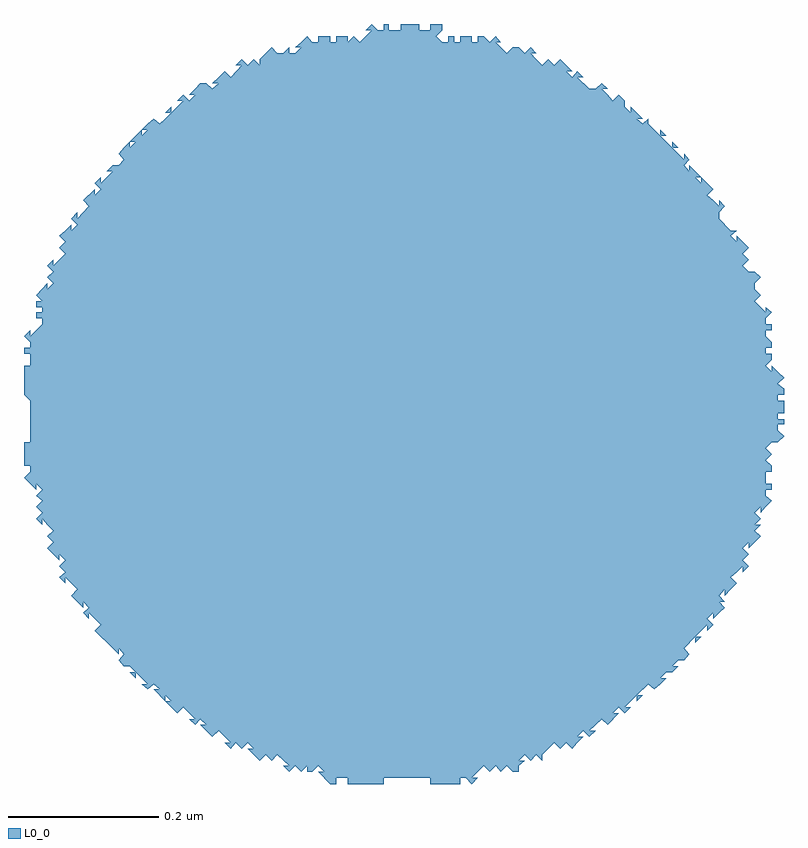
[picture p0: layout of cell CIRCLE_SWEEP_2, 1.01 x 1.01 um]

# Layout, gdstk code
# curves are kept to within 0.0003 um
import gdstk
lib = gdstk.Library(unit=1e-6, precision=1e-09)
def P(c, l, *ps):  # polygons
    for p in ps: c.add(gdstk.Polygon(p, *l))
L0_0 = (0, 0)

circle_sweep_2 = lib.new_cell('CIRCLE_SWEEP_2')
P(circle_sweep_2, L0_0, [(-0.09,-0.498),(-0.075,-0.498),(-0.075,-0.506),(-0.027,-0.506),(-0.027,-0.498),(0.035,-0.498),(0.035,-0.506),(0.075,-0.506),(0.075,-0.498),(0.082,-0.498),(0.09,-0.506),(0.098,-0.498),(0.09,-0.498),(0.098,-0.49),(-0.114,-0.49),(-0.098,-0.506),(-0.09,-0.506)],
  [(-0.184,-0.467),(-0.2,-0.467),(-0.192,-0.475)],
  [(-0.169,-0.467),(-0.184,-0.467),(-0.176,-0.475)],
  [(0.106,-0.482),(0.114,-0.49),(0.122,-0.482),(0.129,-0.49),(0.137,-0.482),(0.145,-0.49),(0.153,-0.49),(0.153,-0.482),(0.161,-0.475),(0.153,-0.475),(0.161,-0.467),(-0.169,-0.467),(-0.153,-0.482),(-0.161,-0.482),(-0.153,-0.49),(-0.145,-0.482),(-0.137,-0.49),(-0.129,-0.482),(-0.129,-0.49),(-0.122,-0.49),(-0.114,-0.482),(-0.106,-0.49),(0.098,-0.49)],
  [(0.176,-0.467),(0.161,-0.467),(0.169,-0.475)],
  [(0.184,-0.467),(0.176,-0.467),(0.184,-0.475)],
  [(0.192,-0.459),(0.2,-0.451),(0.208,-0.459),(0.216,-0.451),(0.224,-0.459),(0.231,-0.451),(0.239,-0.443),(-0.239,-0.443),(-0.231,-0.451),(-0.239,-0.451),(-0.231,-0.459),(-0.224,-0.451),(-0.216,-0.459),(-0.208,-0.451),(-0.2,-0.459),(-0.208,-0.459),(-0.2,-0.467),(0.184,-0.467)],
  [(0.239,-0.435),(0.247,-0.443),(0.255,-0.435),(0.247,-0.435),(0.263,-0.42),(0.271,-0.427),(0.286,-0.412),(-0.286,-0.412),(-0.278,-0.42),(-0.286,-0.42),(-0.278,-0.427),(-0.271,-0.42),(-0.263,-0.427),(-0.271,-0.427),(-0.255,-0.443),(-0.247,-0.435),(-0.239,-0.443),(0.231,-0.443)],
  [(-0.333,-0.373),(-0.349,-0.373),(-0.341,-0.38)],
  [(0.286,-0.404),(0.294,-0.412),(0.302,-0.404),(0.294,-0.404),(0.31,-0.388),(0.31,-0.396),(0.318,-0.388),(0.31,-0.388),(0.325,-0.373),(-0.333,-0.373),(-0.325,-0.38),(-0.333,-0.38),(-0.318,-0.396),(-0.318,-0.388),(-0.31,-0.396),(-0.318,-0.396),(-0.302,-0.412),(-0.294,-0.404),(-0.286,-0.412),(0.278,-0.412)],
  [(0.341,-0.373),(0.325,-0.373),(0.333,-0.38)],
  [(-0.38,-0.325),(-0.388,-0.325),(-0.38,-0.333)],
  [(0.349,-0.365),(0.341,-0.365),(0.349,-0.357),(0.357,-0.357),(0.365,-0.349),(0.357,-0.349),(0.365,-0.341),(0.373,-0.341),(0.38,-0.333),(0.373,-0.325),(-0.38,-0.325),(-0.373,-0.333),(-0.38,-0.341),(-0.373,-0.349),(-0.365,-0.349),(-0.357,-0.357),(-0.365,-0.357),(-0.357,-0.365),(-0.357,-0.357),(-0.341,-0.373),(0.341,-0.373)],
  [(-0.42,-0.278),(-0.427,-0.278),(-0.42,-0.286)],
  [(0.388,-0.31),(0.388,-0.318),(0.396,-0.31),(0.388,-0.31),(0.404,-0.294),(0.404,-0.302),(0.412,-0.294),(0.404,-0.286),(0.412,-0.278),(-0.42,-0.278),(-0.404,-0.294),(-0.412,-0.302),(-0.388,-0.325),(0.373,-0.325)],
  [(0.42,-0.278),(0.412,-0.278),(0.412,-0.286)],
  [(0.427,-0.271),(0.42,-0.263),(0.427,-0.263),(0.42,-0.255),(0.427,-0.247),(0.427,-0.255),(0.443,-0.239),(0.435,-0.231),(0.443,-0.224),(-0.451,-0.224),(-0.459,-0.231),(-0.451,-0.239),(-0.451,-0.231),(-0.435,-0.247),(-0.443,-0.255),(-0.427,-0.271),(-0.427,-0.263),(-0.42,-0.271),(-0.427,-0.278),(0.42,-0.278)],
  [(0.451,-0.216),(0.451,-0.224),(0.459,-0.216),(0.451,-0.208),(0.459,-0.2),(0.451,-0.192),(0.459,-0.184),(0.459,-0.192),(0.475,-0.176),(0.467,-0.169),(0.475,-0.161),(-0.475,-0.161),(-0.467,-0.169),(-0.475,-0.176),(-0.467,-0.184),(-0.475,-0.192),(-0.459,-0.208),(-0.459,-0.2),(-0.451,-0.208),(-0.459,-0.216),(-0.451,-0.224),(0.443,-0.224)],
  [(0.475,-0.153),(0.467,-0.145),(0.475,-0.137),(0.475,-0.145),(0.482,-0.137),(0.49,-0.129),(0.482,-0.122),(0.482,-0.114),(0.49,-0.114),(0.49,-0.106),(0.482,-0.106),(0.482,-0.098),(-0.506,-0.098),(-0.49,-0.114),(-0.49,-0.106),(-0.482,-0.114),(-0.49,-0.122),(-0.482,-0.129),(-0.49,-0.137),(-0.482,-0.145),(-0.49,-0.153),(-0.482,-0.161),(-0.482,-0.153),(-0.475,-0.161),(0.467,-0.161)],
  [(0.482,-0.09),(0.49,-0.09),(0.49,-0.082),(0.482,-0.075),(0.49,-0.067),(0.482,-0.059),(0.49,-0.051),(0.498,-0.051),(0.506,-0.043),(0.498,-0.035),(0.498,-0.027),(-0.498,-0.027),(-0.498,-0.051),(-0.506,-0.051),(-0.506,-0.082),(-0.498,-0.082),(-0.498,-0.09),(-0.506,-0.098),(0.482,-0.098)],
  [(0.506,-0.02),(0.498,-0.02),(0.498,-0.012),(0.506,-0.012),(0.506,0.004),(0.498,0.004),(0.498,0.012),(0.506,0.012),(0.506,0.02),(0.498,0.027),(0.506,0.035),(0.498,0.043),(-0.506,0.043),(-0.506,0.012),(-0.498,0.004),(-0.498,-0.027),(0.506,-0.027)],
  [(0.49,0.051),(0.49,0.043),(0.482,0.051),(0.49,0.059),(0.49,0.067),(0.482,0.067),(0.482,0.075),(0.49,0.075),(0.49,0.082),(0.482,0.09),(0.482,0.098),(0.49,0.098),(0.49,0.106),(0.482,0.106),(0.482,0.114),(-0.482,0.114),(-0.482,0.106),(-0.498,0.09),(-0.498,0.098),(-0.506,0.09),(-0.498,0.082),(-0.498,0.075),(-0.506,0.075),(-0.506,0.067),(-0.498,0.067),(-0.498,0.051),(-0.506,0.051),(-0.506,0.043),(0.498,0.043)],
  [(0.49,0.122),(0.482,0.129),(0.482,0.122),(0.467,0.137),(0.475,0.145),(0.467,0.153),(0.467,0.161),(0.475,0.169),(0.467,0.176),(-0.467,0.176),(-0.475,0.169),(-0.467,0.161),(-0.475,0.153),(-0.475,0.161),(-0.49,0.145),(-0.482,0.137),(-0.49,0.137),(-0.49,0.129),(-0.482,0.129),(-0.482,0.122),(-0.49,0.122),(-0.49,0.114),(0.482,0.114)],
  [(0.451,0.184),(0.459,0.192),(0.451,0.2),(0.459,0.208),(0.443,0.224),(0.443,0.216),(0.435,0.224),(0.443,0.231),(-0.451,0.231),(-0.459,0.224),(-0.451,0.216),(-0.459,0.208),(-0.451,0.2),(-0.467,0.184),(-0.467,0.192),(-0.475,0.184),(-0.467,0.176),(0.459,0.176)],
  [(0.42,0.247),(0.42,0.255),(0.427,0.263),(0.42,0.271),(0.42,0.263),(0.412,0.271),(0.404,0.278),(0.412,0.286),(-0.404,0.286),(-0.412,0.278),(-0.412,0.286),(-0.427,0.271),(-0.42,0.263),(-0.435,0.247),(-0.435,0.255),(-0.443,0.247),(-0.435,0.239),(-0.443,0.231),(-0.443,0.239),(-0.451,0.231),(0.435,0.231)],
  [(0.404,0.294),(0.396,0.302),(0.396,0.294),(0.388,0.302),(0.396,0.302),(0.38,0.318),(0.38,0.31),(0.373,0.318),(0.38,0.325),(0.373,0.333),(0.373,0.325),(0.357,0.341),(-0.373,0.341),(-0.38,0.333),(-0.373,0.325),(-0.38,0.318),(-0.388,0.318),(-0.396,0.31),(-0.388,0.31),(-0.404,0.294),(-0.404,0.302),(-0.412,0.294),(-0.404,0.286),(0.412,0.286)],
  [(0.357,0.349),(0.357,0.341),(0.341,0.357),(0.349,0.357),(0.341,0.365),(0.341,0.357),(0.325,0.373),(0.325,0.38),(0.318,0.373),(0.31,0.38),(-0.318,0.38),(-0.325,0.373),(-0.333,0.38),(-0.341,0.373),(-0.349,0.365),(-0.341,0.365),(-0.349,0.357),(-0.349,0.365),(-0.365,0.349),(-0.357,0.349),(-0.365,0.341),(-0.365,0.349),(-0.373,0.341),(0.365,0.341)],
  [(0.31,0.388),(0.302,0.396),(0.302,0.388),(0.294,0.396),(0.294,0.404),(0.286,0.412),(0.278,0.404),(0.271,0.412),(0.263,0.42),(-0.278,0.42),(-0.286,0.412),(-0.278,0.412),(-0.286,0.404),(-0.294,0.412),(-0.302,0.404),(-0.294,0.404),(-0.31,0.388),(-0.31,0.396),(-0.318,0.388),(-0.31,0.388),(-0.318,0.38),(0.318,0.38)],
  [(0.263,0.427),(0.255,0.42),(0.247,0.42),(0.231,0.435),(0.239,0.435),(0.231,0.443),(0.224,0.435),(0.216,0.443),(0.224,0.443),(0.216,0.451),(-0.216,0.451),(-0.231,0.435),(-0.239,0.443),(-0.255,0.427),(-0.247,0.427),(-0.255,0.42),(-0.263,0.427),(-0.271,0.427),(-0.278,0.42),(0.271,0.42)],
  [(0.208,0.459),(0.2,0.451),(0.192,0.459),(0.184,0.451),(0.176,0.459),(0.169,0.467),(0.176,0.467),(0.169,0.475),(0.161,0.467),(0.153,0.475),(0.145,0.475),(0.137,0.467),(0.129,0.475),(-0.137,0.475),(-0.145,0.467),(-0.153,0.467),(-0.153,0.475),(-0.161,0.467),(-0.169,0.467),(-0.176,0.475),(-0.192,0.459),(-0.192,0.451),(-0.2,0.459),(-0.208,0.451),(-0.216,0.459),(-0.224,0.451),(0.216,0.451)],
  [(0.122,0.482),(0.129,0.482),(0.122,0.49),(0.114,0.482),(0.106,0.49),(0.098,0.49),(0.098,0.482),(0.09,0.482),(0.09,0.49),(0.075,0.49),(0.075,0.482),(0.067,0.482),(0.067,0.49),(0.059,0.49),(0.059,0.482),(0.051,0.482),(0.043,0.49),(-0.051,0.49),(-0.059,0.482),(-0.067,0.49),(-0.075,0.482),(-0.075,0.49),(-0.09,0.49),(-0.09,0.482),(-0.098,0.482),(-0.098,0.49),(-0.114,0.49),(-0.114,0.482),(-0.122,0.482),(-0.129,0.49),(-0.137,0.482),(-0.145,0.475),(0.129,0.475)],
  [(0.051,0.498),(0.051,0.506),(0.035,0.506),(0.035,0.498),(0.02,0.498),(0.02,0.506),(-0.004,0.506),(-0.004,0.498),(-0.02,0.498),(-0.02,0.506),(-0.027,0.506),(-0.027,0.498),(-0.035,0.498),(-0.043,0.506),(-0.051,0.498),(-0.043,0.498),(-0.051,0.49),(0.043,0.49)])

lib.write_gds('CIRCLE_SWEEP_2.gds')
